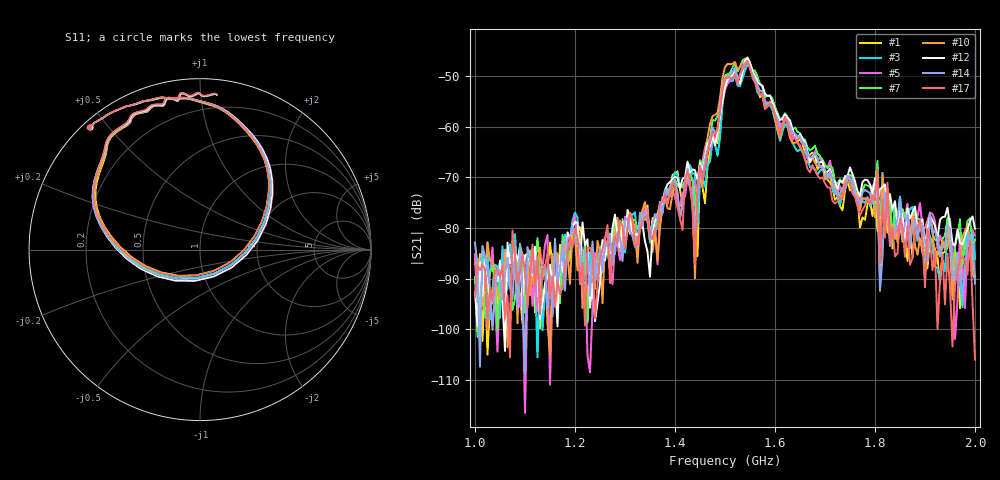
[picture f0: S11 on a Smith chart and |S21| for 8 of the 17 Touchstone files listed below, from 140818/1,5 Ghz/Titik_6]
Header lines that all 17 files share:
# Hz S RI R 50
! CMT, C1220, 16058040, 17.2.0/1
! Data: Format (Calibration Info)
! Freq  S11: Re/Im (F2)  S21: Re/Im (F2)  S12: Re/Im (F2)  S22: Re/Im (F2)
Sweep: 1 GHz to 2 GHz
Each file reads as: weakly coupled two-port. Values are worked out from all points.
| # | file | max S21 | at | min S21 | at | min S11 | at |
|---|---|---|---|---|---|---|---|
| 1 | Sudut_40_Titik_6.s2p | -47.27 dB | 1.545 GHz | -105.0 dB | 1.025 GHz | -16.5 dB | 1.53 GHz |
| 2 | Sudut_60_Titik_6.s2p | -47.92 dB | 1.545 GHz | -103.9 dB | 1.045 GHz | -16.0 dB | 1.53 GHz |
| 3 | Sudut_70_Titik_6.s2p | -47.73 dB | 1.545 GHz | -105.6 dB | 1.125 GHz | -15.8 dB | 1.53 GHz |
| 4 | Sudut_90_Titik_6.s2p | -48.46 dB | 1.545 GHz | -106.2 dB | 1.12 GHz | -15.4 dB | 1.53 GHz |
| 5 | Sudut_120_Titik_6.s2p | -47.23 dB | 1.545 GHz | -116.5 dB | 1.1 GHz | -15.0 dB | 1.53 GHz |
| 6 | Sudut_140_Titik_6.s2p | -46.80 dB | 1.545 GHz | -105.3 dB | 1.13 GHz | -15.1 dB | 1.53 GHz |
| 7 | Sudut_160_Titik_6.s2p | -46.46 dB | 1.545 GHz | -101.5 dB | 1.005 GHz | -15.6 dB | 1.53 GHz |
| 8 | Sudut_180_Titik_6.s2p | -46.64 dB | 1.545 GHz | -103.7 dB | 1.125 GHz | -16.4 dB | 1.53 GHz |
| 9 | Sudut_190_Titik_6.s2p | -46.59 dB | 1.545 GHz | -102.1 dB | 1.245 GHz | -16.6 dB | 1.53 GHz |
| 10 | Sudut_200_Titik_6.s2p | -46.33 dB | 1.545 GHz | -105.0 dB | 1.15 GHz | -16.7 dB | 1.53 GHz |
| 11 | Sudut_230_Titik_6.s2p | -46.36 dB | 1.545 GHz | -110.2 dB | 1.095 GHz | -15.8 dB | 1.53 GHz |
| 12 | Sudut_260_Titik_6.s2p | -46.50 dB | 1.545 GHz | -104.3 dB | 1.06 GHz | -15.0 dB | 1.53 GHz |
| 13 | Sudut_270_Titik_6.s2p | -46.29 dB | 1.545 GHz | -108.2 dB | 1.23 GHz | -15.1 dB | 1.53 GHz |
| 14 | Sudut_310_Titik_6.s2p | -47.09 dB | 1.545 GHz | -108.9 dB | 1.1 GHz | -15.5 dB | 1.53 GHz |
| 15 | Sudut_320_Titik_6.s2p | -47.41 dB | 1.545 GHz | -109.4 dB | 1.24 GHz | -15.7 dB | 1.53 GHz |
| 16 | Sudut_330_Titik_6.s2p | -47.24 dB | 1.545 GHz | -102.8 dB | 1.055 GHz | -15.9 dB | 1.53 GHz |
| 17 | Sudut_350_Titik_6.s2p | -47.16 dB | 1.545 GHz | -106.0 dB | 2 GHz | -16.5 dB | 1.53 GHz |
